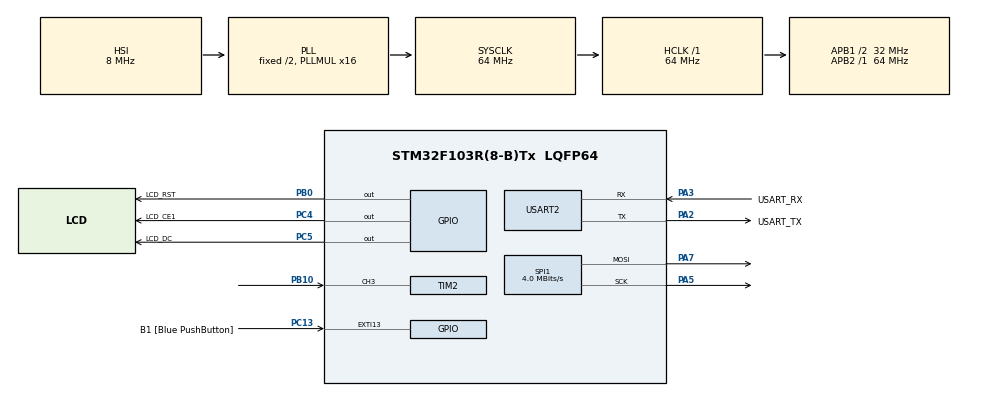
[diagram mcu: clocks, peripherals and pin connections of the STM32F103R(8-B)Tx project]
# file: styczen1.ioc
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Mcu.Family=STM32F1
Mcu.Name=STM32F103R(8-B)Tx
Mcu.Package=LQFP64
NVIC.EXTI15_10_IRQn=true\:0\:0\:false\:false\:true\:true\:true
NVIC.PriorityGroup=NVIC_PRIORITYGROUP_4
NVIC.USART2_IRQn=true\:0\:0\:false\:false\:true\:true\:true
PA13.GPIO_Label=TMS
PA13.Mode=Serial_Wire
PA13.Signal=SYS_JTMS-SWDIO
PA14.Mode=Serial_Wire
PA14.Signal=SYS_JTCK-SWCLK
PA2.GPIO_Label=USART_TX
PA2.GPIO_Mode=GPIO_MODE_AF_PP
PA2.GPIO_PuPd=GPIO_NOPULL
PA2.GPIO_Speed=GPIO_SPEED_FREQ_LOW
PA2.Mode=Asynchronous
PA2.Signal=USART2_TX
PA3.GPIO_Label=USART_RX
PA3.GPIO_Mode=GPIO_MODE_AF_PP
PA3.GPIO_PuPd=GPIO_NOPULL
PA3.GPIO_Speed=GPIO_SPEED_FREQ_LOW
PA3.Mode=Asynchronous
PA3.Signal=USART2_RX
PA5.Mode=TX_Only_Simplex_Unidirect_Master
PA5.Signal=SPI1_SCK
PA7.Mode=TX_Only_Simplex_Unidirect_Master
PA7.Signal=SPI1_MOSI
PB0.GPIO_Label=LCD_RST
PB0.Signal=GPIO_Output
PB10.Signal=S_TIM2_CH3
PB3.GPIO_Label=SWO
PB3.Signal=SYS_JTDO-TRACESWO
PC13-TAMPER-RTC.GPIO_Label=B1 [Blue PushButton]
PC13-TAMPER-RTC.GPIO_PuPd=GPIO_NOPULL
PC13-TAMPER-RTC.Signal=GPXTI13
PC14-OSC32_IN.Mode=LSE-External-Oscillator
PC14-OSC32_IN.Signal=RCC_OSC32_IN
PC15-OSC32_OUT.Mode=LSE-External-Oscillator
PC15-OSC32_OUT.Signal=RCC_OSC32_OUT
PC4.GPIO_Label=LCD_CE1
PC4.Signal=GPIO_Output
PC5.GPIO_Label=LCD_DC
PC5.Signal=GPIO_Output
PD0-OSC_IN.Mode=HSE-External-Clock-Source
PD0-OSC_IN.Signal=RCC_OSC_IN
PD1-OSC_OUT.Mode=HSE-External-Clock-Source
PD1-OSC_OUT.Signal=RCC_OSC_OUT
ProjectManager.HeapSize=0x200
ProjectManager.StackSize=0x400
ProjectManager.TargetToolchain=STM32CubeIDE
RCC.AHBFreq_Value=64000000
RCC.APB1CLKDivider=RCC_HCLK_DIV2
RCC.APB1Freq_Value=32000000
RCC.APB1TimFreq_Value=64000000
RCC.APB2Freq_Value=64000000
RCC.APB2TimFreq_Value=64000000
RCC.HCLKFreq_Value=64000000
RCC.PLLMUL=RCC_PLL_MUL16
RCC.RTCClockSelection=RCC_RTCCLKSOURCE_LSE
RCC.SYSCLKFreq_VALUE=64000000
RCC.SYSCLKSource=RCC_SYSCLKSOURCE_PLLCLK
RCC.USBFreq_Value=64000000
SH.S_TIM2_CH3.0=TIM2_CH3,Input_Capture3_from_TI3
SPI1.BaudRatePrescaler=SPI_BAUDRATEPRESCALER_16
SPI1.CalculateBaudRate=4.0 MBits/s
SPI1.Direction=SPI_DIRECTION_2LINES
SPI1.Mode=SPI_MODE_MASTER
SPI1.VirtualType=VM_MASTER
TIM2.Channel-Input_Capture3_from_TI3=TIM_CHANNEL_3
USART2.VirtualMode=VM_ASYNC
board=NUCLEO-F103RB

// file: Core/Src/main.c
/* USER CODE BEGIN Header */
/**
  ******************************************************************************
  * @file           : main.c
  * @brief          : Main program body
  ******************************************************************************
  * @attention
  *
  * <h2><center>&copy; Copyright (c) 2021 STMicroelectronics.
  * All rights reserved.</center></h2>
  *
  * This software component is licensed by ST under BSD 3-Clause license,
  * the "License"; You may not use this file except in compliance with the
  * License. You may obtain a copy of the License at:
  *                        opensource.org/licenses/BSD-3-Clause
  *
  ******************************************************************************
  */
/* USER CODE END Header */
#include "main.h"

/* USER CODE BEGIN Includes */
#include <stdio.h>
#include <stdbool.h>
#include "math.h"

/* USER CODE END Includes */

SPI_HandleTypeDef hspi1;

TIM_HandleTypeDef htim2;

UART_HandleTypeDef huart2;

/* USER CODE BEGIN PV */
char RxBUF[200]; // bufor do odbioru
char TxBUF[200]; // bufor do nadawania
uint8_t temp[1]; // zmienna na pojedynczy znak
uint8_t rx_e = 0, rx_f = 0; // wskaźniki w buforze do odbioru
uint8_t tx_e = 0, tx_f = 0; // wskaźniki w buforze do nadawania
uint8_t counter = 0; // wskaźnik dla komendy bufora odbiorczego
bool frameStarted = false; // wskaźnik odczytania początku ramki
bool frameCompleted = false; // wskaźnik kompletności ramki
int dataLength; // długośc pola danych
bool sign0xEAIsRead = false; // wskaźnik odczytania znaku specjalnego
uint8_t error;
char frame[100];
bool crcCorrect; // wskaźnik poprawności kodu kontrolnego
char crc[2]; // kod kontrolny odczytany w ramce
char hello_command[] = "Hello, I am STM32!!! \n\r";
/* USER CODE END PV */

void SystemClock_Config(void);
static void MX_GPIO_Init(void);
static void MX_USART2_UART_Init(void);
static void MX_TIM2_Init(void);
static void MX_SPI1_Init(void);
/* USER CODE BEGIN PFP */
void SystemClock_Config(void);
static void MX_GPIO_Init(void);
static void MX_USART2_UART_Init(void);
static void MX_TIM2_Init(void);
/* USER CODE BEGIN PFP */

LCD_setRST(LCD_RST_Port, LCD_RST_Pin);
LCD_setCE(LCD_CE1_Port, LCD_CE1_Pin);
LCD_setDC(LCD_DC_Port, LCD_DC_Pin);
LCD_setDIN(SPI1_MOSI_Port, SPI1_MOSI_Pin);
LCD_setCLK(SPI1_SCK_Port, SPI1_SCK_Pin);

void HAL_UART_RxCpltCallback(UART_HandleTypeDef *huart) { // odbiór i zapis danych na przerwaniach
			if (huart->Instance == USART2) {
				if (rx_e == 199)
					rx_e = 0;
				else
					rx_e++;
				HAL_UART_Receive_IT(&huart2, &RxBUF[rx_e], 1);
	}
}
void HAL_UART_TxCpltCallback(UART_HandleTypeDef *huart) { // wysyłanie danych na przerwaniach
	if (huart->Instance == USART2) {
		uint8_t temp = TxBUF[tx_f]; // znak do wysłania
		if (tx_f != tx_e) {
			if (tx_f == 199)
				tx_f = 0;
			else
				tx_f++;
			HAL_UART_Transmit_IT(&huart2, &temp, 1);
		}
	}
}

void put(char ch[]) { // dodawanie komend do bufora nadawczego
	uint8_t index = tx_e; // zapamiętanie wartości wskaźnika tx_e
	for (int i = 0; i < strlen(ch); i++) { // dodawanie znaków do bufora
		TxBUF[index] = ch[i];

		if (index == 199)
			index = 0;
		else
			index++;
	}
	__disable_irq();
	if((tx_e == tx_f) && // jeżeli bufor wysyłający był pusty przed dodaniem znaków łańcucha
			(__HAL_UART_GET_FLAG(&huart2, UART_FLAG_TXE) == SET)) {
		tx_e = index; // przesunięcie wskaźnika na puste miejsce po dodaniu znaków łańcucha
		uint8_t tmp = TxBUF[tx_f]; // zapamiętanie znaku do wysłania
		if (tx_f == 199)
			tx_f = 0;
		else
			tx_f++;
		HAL_UART_Transmit_IT(&huart2, &tmp, 1);
	} else // jeżel w buforze są dane
		tx_e = index; // znaki łańcucha czekają w kolejce w buforze
	__enable_irq();
}
void readChar() {

	if (RxBUF[rx_f] == 0xEE) { // znak początku ramki
		counter = 0; // ustawienie wartości startowych zmiennych
		frameStarted = true;
		frameCompleted = false;
		dataLength = 0;
		sign0xEAIsRead = false;
		for(int i = 0; i < 14; i++){
			frame[i] = 0x00;
		}
		error = 0;
	}

	if (!frameStarted) {
		if (rx_f == 199)
				rx_f = 0;
		else
				rx_f++;
		return;
	}

	frame[counter] = RxBUF[rx_f]; // przepisanie znaku bufora

	if (counter == 5 + dataLength) { // sprawdzenie, czy odczytano ostatni znak ramki
		frameCompleted = true;
	}

	if (!frameCompleted) {
		if (counter == 1) {
			if (frame[1] > 0x08) { // błędna zawartośc pola LENGTH

				error = 0x09;
				my_Error_Handler();
				return;
			}
			else
				dataLength = frame[1];  // długośc pola DATA przed ew. przekodowaniem
		}
		if (counter == 2) {
			char test = frame[2] ^ frame[1];
			if (test != 0xFF)  { // błędna zawartośc pola NOT_LENGTH
				error = 0x08;
				my_Error_Handler();
				return;
			}
		}
		if (dataLength > 0) {
			if (counter > 3 && counter <= counter + dataLength) { // pole DATA
				if (sign0xEAIsRead) { // sprawdzenie czy poprzedni znak to 0xEA
					sign0xEAIsRead = false;
					if (RxBUF[rx_f] == 0xEB)
						frame[counter] = 0xEE; // dekodowanie znaku 0xEE
					else if (RxBUF[rx_f] == 0xEC)
						frame[counter] = 0xEA; // dekodowanie znaku 0xEA
					else {
						error = 0x07;
						my_Error_Handler();
						return;
					}
				}
				if (frame[counter] == 0xEA) {
					sign0xEAIsRead = true;
					counter--;  // w celu przykrycia bieżącego znaku przez następny
				}
			}
		}
		if (counter == 5 + dataLength)
			frameCompleted = true; // przeczytano wszystkie znaki ramki
	}

	if (frameCompleted) {
		checkCRC();
		if (!crcCorrect) {
			error = 0x06;
			my_Error_Handler();
			return;
		} else
			if (frame[3] != 0x11 && frame[3] != 0x22 && frame[3] != 0x33
					&& frame[3] != 0x44 && frame[3] != 0x01 && frame[3] != 0x02
					&& frame[3] != 0x03 && frame[3] != 0x04 && frame[3] != 0x66 && frame[3] != 0x55) {
				error = 0x05;  // nierozpoznane polecenie
				my_Error_Handler();
				return;
			}

		//Wybór komendy oraz obsługa błędu
		switch(frame[3]){ // komendy
					case  0x55:
						put("\nkomenda 0x55");

						break;

					case 0x22:
						put("\nkomenda 0x22");

						break;
					case 0x11:
						put("\nkomenda 0x11");

						break;
					case 0x66:
						put("\nkomenda 0x66");

						break;
					case 0x33:
						put("\nkomenda 0x33");
						break;
		}
	}
	if (rx_f == 199)
			rx_f = 0;
	else
			rx_f++;
	counter++;
}

void checkCRC() {//Obliczanie CRC
	crc[0] = crc[1] = 0x00;
	int frameLength = 4 + dataLength;
 	for(int i = 0; i < frameLength; i++) { // sprawdzanie kolejnych bajtów ramki
 		char byte = frame[i];
 		int numberOf1 = 0;
 		for(int j = 0; j < 8; j++){ // zliczanie jedynek w bitach kolejnego bajtu
 			if (byte & 0x01)
 				numberOf1++;
 			byte >>= 1;
 		}
 		if (numberOf1 == 1 || numberOf1 == 3 || numberOf1 == 5 || numberOf1 == 7)
 			crc[1] |= 0x01; // ustawienie najmłodszego bitu kodu crc

 		crc[0] <<= 1;		// przesunięcie bitowe słowa 16-bitowego
 		if (crc[1] & 0x80)
 			crc[0] |= 0x01;
 		crc[1] <<= 1;
 	}
 	for(int i = 0; i < 15 - frameLength; i++) { // przesunięcie do najstarszego bitu
 		crc[0] <<= 1;
 		if (crc[1] & 0x80)
 			crc[0] |= 0x01;
 		crc[1] <<= 1;
 	}
 	// Porównanie otrzymanego CRC z obliczonym
 	if (frame[counter - 1] == crc[0] && frame[counter] == crc[1])
 		crcCorrect = true;
 	else
 		crcCorrect = false;
}
/* USER CODE END PFP */

int main(void)
{

  /* MCU Configuration--------------------------------------------------------*/

  /* Reset of all peripherals, Initializes the Flash interface and the Systick. */
  HAL_Init();

  /* Configure the system clock */
  SystemClock_Config();

  /* Initialize all configured peripherals */
  MX_GPIO_Init();
  MX_USART2_UART_Init();
  MX_TIM2_Init();
  MX_SPI1_Init();
  /* USER CODE BEGIN 2 */
  HAL_UART_Receive_IT(&huart2, &RxBUF[rx_e], 1);
  put("\nWpisz ramke: ");
  LCD_init();
  LCD_print("Hello World", 0, 0);
  /* USER CODE END 2 */

  /* Infinite loop */
  while (1)
  {

  }
}

void SystemClock_Config(void)
{
  RCC_OscInitTypeDef RCC_OscInitStruct = {0};
  RCC_ClkInitTypeDef RCC_ClkInitStruct = {0};

  /** Initializes the RCC Oscillators according to the specified parameters
  * in the RCC_OscInitTypeDef structure.
  */
  RCC_OscInitStruct.OscillatorType = RCC_OSCILLATORTYPE_HSI;
  RCC_OscInitStruct.HSIState = RCC_HSI_ON;
  RCC_OscInitStruct.HSICalibrationValue = RCC_HSICALIBRATION_DEFAULT;
  RCC_OscInitStruct.PLL.PLLState = RCC_PLL_ON;
  RCC_OscInitStruct.PLL.PLLSource = RCC_PLLSOURCE_HSI_DIV2;
  RCC_OscInitStruct.PLL.PLLMUL = RCC_PLL_MUL16;
  if (HAL_RCC_OscConfig(&RCC_OscInitStruct) != HAL_OK)
  {
    Error_Handler();
  }
  /** Initializes the CPU, AHB and APB buses clocks
  */
  RCC_ClkInitStruct.ClockType = RCC_CLOCKTYPE_HCLK|RCC_CLOCKTYPE_SYSCLK
                              |RCC_CLOCKTYPE_PCLK1|RCC_CLOCKTYPE_PCLK2;
  RCC_ClkInitStruct.SYSCLKSource = RCC_SYSCLKSOURCE_PLLCLK;
  RCC_ClkInitStruct.AHBCLKDivider = RCC_SYSCLK_DIV1;
  RCC_ClkInitStruct.APB1CLKDivider = RCC_HCLK_DIV2;
  RCC_ClkInitStruct.APB2CLKDivider = RCC_HCLK_DIV1;

  if (HAL_RCC_ClockConfig(&RCC_ClkInitStruct, FLASH_LATENCY_2) != HAL_OK)
  {
    Error_Handler();
  }
}

static void MX_SPI1_Init(void)
{

  /* SPI1 parameter configuration*/
  hspi1.Instance = SPI1;
  hspi1.Init.Mode = SPI_MODE_MASTER;
  hspi1.Init.Direction = SPI_DIRECTION_2LINES;
  hspi1.Init.DataSize = SPI_DATASIZE_8BIT;
  hspi1.Init.CLKPolarity = SPI_POLARITY_LOW;
  hspi1.Init.CLKPhase = SPI_PHASE_1EDGE;
  hspi1.Init.NSS = SPI_NSS_SOFT;
  hspi1.Init.BaudRatePrescaler = SPI_BAUDRATEPRESCALER_16;
  hspi1.Init.FirstBit = SPI_FIRSTBIT_MSB;
  hspi1.Init.TIMode = SPI_TIMODE_DISABLE;
  hspi1.Init.CRCCalculation = SPI_CRCCALCULATION_DISABLE;
  hspi1.Init.CRCPolynomial = 10;
  if (HAL_SPI_Init(&hspi1) != HAL_OK)
  {
    Error_Handler();
  }

}

static void MX_TIM2_Init(void)
{

  TIM_MasterConfigTypeDef sMasterConfig = {0};
  TIM_IC_InitTypeDef sConfigIC = {0};

  htim2.Instance = TIM2;
  htim2.Init.Prescaler = 0;
  htim2.Init.CounterMode = TIM_COUNTERMODE_UP;
  htim2.Init.Period = 65535;
  htim2.Init.ClockDivision = TIM_CLOCKDIVISION_DIV1;
  htim2.Init.AutoReloadPreload = TIM_AUTORELOAD_PRELOAD_DISABLE;
  if (HAL_TIM_IC_Init(&htim2) != HAL_OK)
  {
    Error_Handler();
  }
  sMasterConfig.MasterOutputTrigger = TIM_TRGO_RESET;
  sMasterConfig.MasterSlaveMode = TIM_MASTERSLAVEMODE_DISABLE;
  if (HAL_TIMEx_MasterConfigSynchronization(&htim2, &sMasterConfig) != HAL_OK)
  {
    Error_Handler();
  }
  sConfigIC.ICPolarity = TIM_INPUTCHANNELPOLARITY_RISING;
  sConfigIC.ICSelection = TIM_ICSELECTION_DIRECTTI;
  sConfigIC.ICPrescaler = TIM_ICPSC_DIV1;
  sConfigIC.ICFilter = 0;
  if (HAL_TIM_IC_ConfigChannel(&htim2, &sConfigIC, TIM_CHANNEL_3) != HAL_OK)
  {
    Error_Handler();
  }

}

static void MX_USART2_UART_Init(void)
{

  huart2.Instance = USART2;
  huart2.Init.BaudRate = 115200;
  huart2.Init.WordLength = UART_WORDLENGTH_8B;
  huart2.Init.StopBits = UART_STOPBITS_1;
  huart2.Init.Parity = UART_PARITY_NONE;
  huart2.Init.Mode = UART_MODE_TX_RX;
  huart2.Init.HwFlowCtl = UART_HWCONTROL_NONE;
  huart2.Init.OverSampling = UART_OVERSAMPLING_16;
  if (HAL_UART_Init(&huart2) != HAL_OK)
  {
    Error_Handler();
  }

}

static void MX_GPIO_Init(void)
{
  GPIO_InitTypeDef GPIO_InitStruct = {0};

  /* GPIO Ports Clock Enable */
  __HAL_RCC_GPIOC_CLK_ENABLE();
  __HAL_RCC_GPIOD_CLK_ENABLE();
  __HAL_RCC_GPIOA_CLK_ENABLE();
  __HAL_RCC_GPIOB_CLK_ENABLE();

  /*Configure GPIO pin Output Level */
  HAL_GPIO_WritePin(GPIOC, LCD_CE1_Pin|LCD_DC_Pin, GPIO_PIN_RESET);

  /*Configure GPIO pin Output Level */
  HAL_GPIO_WritePin(LCD_RST_GPIO_Port, LCD_RST_Pin, GPIO_PIN_RESET);

  /*Configure GPIO pin : B1_Pin */
  GPIO_InitStruct.Pin = B1_Pin;
  GPIO_InitStruct.Mode = GPIO_MODE_IT_RISING;
  GPIO_InitStruct.Pull = GPIO_NOPULL;
  HAL_GPIO_Init(B1_GPIO_Port, &GPIO_InitStruct);

  /*Configure GPIO pins : LCD_CE1_Pin LCD_DC_Pin */
  GPIO_InitStruct.Pin = LCD_CE1_Pin|LCD_DC_Pin;
  GPIO_InitStruct.Mode = GPIO_MODE_OUTPUT_PP;
  GPIO_InitStruct.Pull = GPIO_NOPULL;
  GPIO_InitStruct.Speed = GPIO_SPEED_FREQ_LOW;
  HAL_GPIO_Init(GPIOC, &GPIO_InitStruct);

  /*Configure GPIO pin : LCD_RST_Pin */
  GPIO_InitStruct.Pin = LCD_RST_Pin;
  GPIO_InitStruct.Mode = GPIO_MODE_OUTPUT_PP;
  GPIO_InitStruct.Pull = GPIO_NOPULL;
  GPIO_InitStruct.Speed = GPIO_SPEED_FREQ_LOW;
  HAL_GPIO_Init(LCD_RST_GPIO_Port, &GPIO_InitStruct);

  /* EXTI interrupt init*/
  HAL_NVIC_SetPriority(EXTI15_10_IRQn, 0, 0);
  HAL_NVIC_EnableIRQ(EXTI15_10_IRQn);

}

/* USER CODE BEGIN 4 */
void my_Error_Handler()
{
	counter = 0;
	frameStarted = false;
	frameCompleted = false;
	dataLength = 0;
	sign0xEAIsRead = false;
	for(int i = 0; i < 14; i++){
		frame[i] = 0x00;
	}
	if (rx_f == 199)
			rx_f = 0;
	else
			rx_f++;

	switch (error) {
	case 0x05: put("\nNierozpoznane polecenie. ");     //EE00FF000000
			   break;
	case 0x06: put("\nBledny kod CRC. ");			   //EE00FF110001
			   break;
	case 0x07: put("\nBledny znak po znaku 0xEA. ");   //EE01FE33EA00
			   break;
	case 0x08: put("\nBledna struktura ramki. ");      //EE0022
			   break;
	case 0x09: put("\nBledna zawartosc pola LENGTH. ");//EEFF00
			   break;							// dobra:EE00FF330000, EE08F73304040404040404046FF0, EE01FE660660
	case 0x0A: put("\nPrzekroczony zakres amplitudy ");
			   break;
	default:   put("\nNierozpoznany kod bledu. ");
			   break;
	}
}
/* USER CODE END 4 */

void Error_Handler(void)
{
  __disable_irq();
  while (1)
  {
  }
}

/************************ (C) COPYRIGHT STMicroelectronics *****END OF FILE****/
